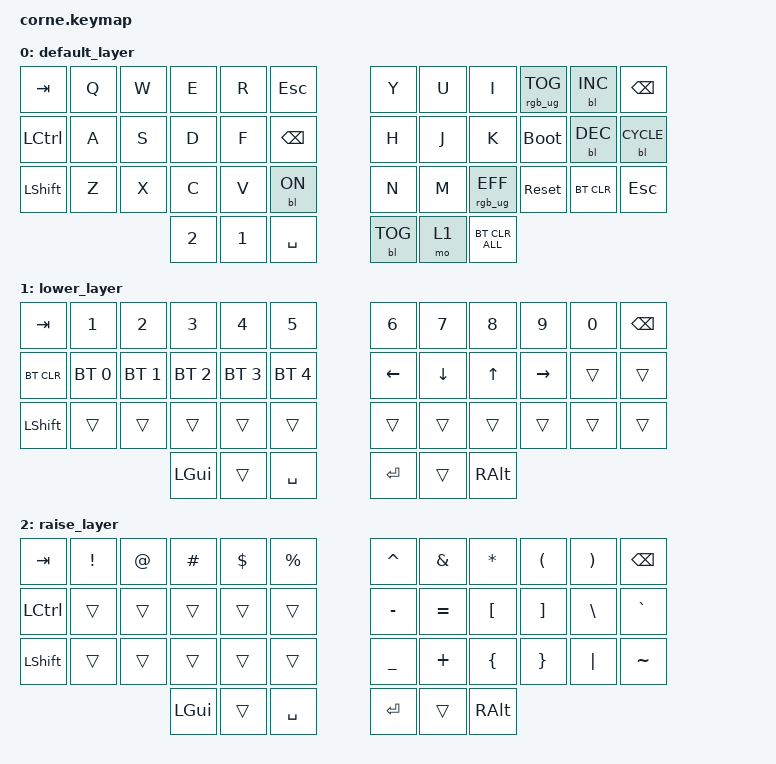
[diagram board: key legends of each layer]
/*
 * Copyright (c) 2020 The ZMK Contributors
 *
 * SPDX-License-Identifier: MIT
 */

#include <behaviors.dtsi>
#include <dt-bindings/zmk/backlight.h>
#include <dt-bindings/zmk/bt.h>
#include <dt-bindings/zmk/keys.h>
#include <dt-bindings/zmk/rgb.h>

/ {
    keymap {
        compatible = "zmk,keymap";

        default_layer {
            // -----------------------------------------------------------------------------------------
            // |  TAB |  Q  |  W  |  E  |  R  |  T  |   |  Y  |  U   |  I  |  O  |  P  | BSPC |
            // | CTRL |  A  |  S  |  D  |  F  |  G  |   |  H  |  J   |  K  |  L  |  ;  |  '   |
            // | SHFT |  Z  |  X  |  C  |  V  |  B  |   |  N  |  M   |  ,  |  .  |  /  | ESC  |
            //                    | GUI | LWR | SPC |   | ENT | RSE  | ALT |

            bindings = <
&kp TAB    &kp Q  &kp W  &kp E         &kp R         &kp ESCAPE       &kp Y       &kp U  &kp I            &rgb_ug RGB_TOG  &bl BL_INC  &kp BSPC
&kp LCTRL  &kp A  &kp S  &kp D         &kp F         &kp BACKSPACE    &kp H       &kp J  &kp K            &bootloader      &bl BL_DEC  &bl BL_CYCLE
&kp LSHFT  &kp Z  &kp X  &kp C         &kp V         &bl BL_ON        &kp N       &kp M  &rgb_ug RGB_EFF  &sys_reset       &bt BT_CLR  &kp ESC
                         &kp NUMBER_2  &kp NUMBER_1  &kp SPACE        &bl BL_TOG  &mo 1  &bt BT_CLR_ALL
            >;
        };

        lower_layer {
            // -----------------------------------------------------------------------------------------
            // |  TAB |  1  |  2  |  3  |  4  |  5  |   |  6  |  7  |  8  |  9  |  0  | BSPC |
            // | BTCLR| BT1 | BT2 | BT3 | BT4 | BT5 |   | LFT | DWN |  UP | RGT |     |      |
            // | SHFT |     |     |     |     |     |   |     |     |     |     |     |      |
            //                    | GUI |     | SPC |   | ENT |     | ALT |

            bindings = <
&kp TAB     &kp N1        &kp N2        &kp N3        &kp N4        &kp N5          &kp N6    &kp N7    &kp N8    &kp N9     &kp N0  &kp BSPC
&bt BT_CLR  &bt BT_SEL 0  &bt BT_SEL 1  &bt BT_SEL 2  &bt BT_SEL 3  &bt BT_SEL 4    &kp LEFT  &kp DOWN  &kp UP    &kp RIGHT  &trans  &trans
&kp LSHFT   &trans        &trans        &trans        &trans        &trans          &trans    &trans    &trans    &trans     &trans  &trans
                                        &kp LGUI      &trans        &kp SPACE       &kp RET   &trans    &kp RALT
            >;
        };

        raise_layer {
            // -----------------------------------------------------------------------------------------
            // |  TAB |  !  |  @  |  #  |  $  |  %  |   |  ^  |  &  |  *  |  (  |  )  | BSPC |
            // | CTRL |     |     |     |     |     |   |  -  |  =  |  [  |  ]  |  \  |  `   |
            // | SHFT |     |     |     |     |     |   |  _  |  +  |  {  |  }  | "|" |  ~   |
            //                    | GUI |     | SPC |   | ENT |     | ALT |

            bindings = <
&kp TAB    &kp EXCL  &kp AT  &kp HASH  &kp DLLR  &kp PRCNT    &kp CARET  &kp AMPS   &kp ASTRK  &kp LPAR  &kp RPAR  &kp BSPC
&kp LCTRL  &trans    &trans  &trans    &trans    &trans       &kp MINUS  &kp EQUAL  &kp LBKT   &kp RBKT  &kp BSLH  &kp GRAVE
&kp LSHFT  &trans    &trans  &trans    &trans    &trans       &kp UNDER  &kp PLUS   &kp LBRC   &kp RBRC  &kp PIPE  &kp TILDE
                             &kp LGUI  &trans    &kp SPACE    &kp RET    &trans     &kp RALT
            >;
        };
    };
};
